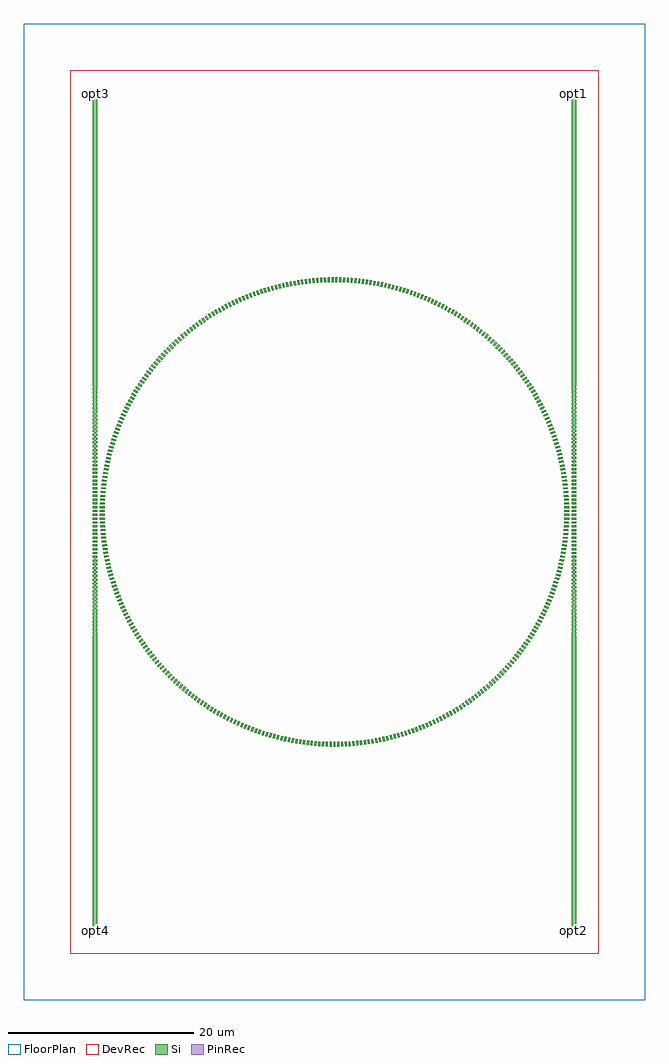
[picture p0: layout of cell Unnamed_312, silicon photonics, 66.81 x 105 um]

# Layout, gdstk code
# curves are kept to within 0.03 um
import gdstk
lib = gdstk.Library(unit=1e-6, precision=1e-09)
def R(c, l, rs):  # rectangles x0, y0, x1, y1
    for r in rs: c.add(gdstk.rectangle(r[:2], r[2:], *l))
def A(c, l, x, y, w, h, nx, ny, dx, dy):  # array of equal rectangles
    R(c, l, [(x+i*dx, y+j*dy, x+i*dx+w, y+j*dy+h) for i in range(nx) for j in range(ny)])
def P(c, l, *ps):  # polygons
    for p in ps: c.add(gdstk.Polygon(p, *l))
Si = (1, 0)
PinRec = (1, 10)
DevRec = (68, 0)
FloorPlan = (99, 0)

unnamed_312 = lib.new_cell('Unnamed_312')
A(unnamed_312, Si, -26.01, -4.51, 0.5, 0.205, 1, 23, 0, 0.41)
A(unnamed_312, Si, 25.51, -4.51, 0.5, 0.205, 1, 23, 0, 0.41)
P(unnamed_312, Si, [(-0.106,-25.242),(-0.104,-24.742),(0.099,-24.742),(0.101,-25.242)],
  [(13.01,21.045),(12.837,21.151),(13.097,21.579),(13.273,21.471)],
  [(11.242,22.04),(11.061,22.132),(11.285,22.579),(11.469,22.486)],
  [(10.879,22.222),(10.697,22.31),(10.913,22.761),(11.099,22.671)],
  [(10.513,22.397),(10.329,22.483),(10.538,22.937),(10.726,22.85)],
  [(25.51,4.92),(25.51,5.125),(25.726,5.125),(25.722,5.33),(25.51,5.33),(25.51,5.535),(25.717,5.535),(25.713,5.74),(25.51,5.74),(25.51,5.945),(25.708,5.945),(25.704,6.15),(25.51,6.15),(25.51,6.355),(25.699,6.355),(25.695,6.56),(25.51,6.56),(25.51,6.765),(25.69,6.765),(25.686,6.97),(25.51,6.97),(25.51,7.175),(25.681,7.175),(25.677,7.38),(25.51,7.38),(25.51,7.585),(25.672,7.585),(25.668,7.79),(25.51,7.79),(25.51,7.995),(25.663,7.995),(25.659,8.2),(25.51,8.2),(25.51,8.405),(25.654,8.405),(25.65,8.61),(25.51,8.61),(25.51,8.815),(25.645,8.815),(25.641,9.02),(25.51,9.02),(25.51,9.225),(25.636,9.225),(25.632,9.43),(25.51,9.43),(25.51,9.635),(25.627,9.635),(25.623,9.84),(25.51,9.84),(25.51,10.045),(25.618,10.045),(25.614,10.25),(25.51,10.25),(25.51,10.455),(25.609,10.455),(25.605,10.66),(25.51,10.66),(25.51,10.865),(25.6,10.865),(25.596,11.07),(25.51,11.07),(25.51,11.275),(25.591,11.275),(25.587,11.48),(25.51,11.48),(25.51,11.685),(25.582,11.685),(25.578,11.89),(25.51,11.89),(25.51,12.095),(25.573,12.095),(25.569,12.3),(25.51,12.3),(25.51,12.505),(25.564,12.505),(25.56,12.71),(25.51,12.71),(25.51,12.915),(25.555,12.915),(25.551,13.12),(25.51,13.12),(25.51,13.325),(25.546,13.325),(25.542,13.53),(25.51,13.53),(25.51,45),(26.01,45),(26.01,13.53),(25.978,13.53),(25.974,13.325),(26.01,13.325),(26.01,13.12),(25.969,13.12),(25.965,12.915),(26.01,12.915),(26.01,12.71),(25.96,12.71),(25.956,12.505),(26.01,12.505),(26.01,12.3),(25.951,12.3),(25.947,12.095),(26.01,12.095),(26.01,11.89),(25.942,11.89),(25.938,11.685),(26.01,11.685),(26.01,11.48),(25.933,11.48),(25.929,11.275),(26.01,11.275),(26.01,11.07),(25.924,11.07),(25.92,10.865),(26.01,10.865),(26.01,10.66),(25.915,10.66),(25.911,10.455),(26.01,10.455),(26.01,10.25),(25.906,10.25),(25.902,10.045),(26.01,10.045),(26.01,9.84),(25.897,9.84),(25.893,9.635),(26.01,9.635),(26.01,9.43),(25.888,9.43),(25.884,9.225),(26.01,9.225),(26.01,9.02),(25.879,9.02),(25.875,8.815),(26.01,8.815),(26.01,8.61),(25.87,8.61),(25.866,8.405),(26.01,8.405),(26.01,8.2),(25.861,8.2),(25.857,7.995),(26.01,7.995),(26.01,7.79),(25.852,7.79),(25.848,7.585),(26.01,7.585),(26.01,7.38),(25.843,7.38),(25.839,7.175),(26.01,7.175),(26.01,6.97),(25.834,6.97),(25.83,6.765),(26.01,6.765),(26.01,6.56),(25.825,6.56),(25.821,6.355),(26.01,6.355),(26.01,6.15),(25.816,6.15),(25.812,5.945),(26.01,5.945),(26.01,5.74),(25.807,5.74),(25.803,5.535),(26.01,5.535),(26.01,5.33),(25.798,5.33),(25.794,5.125),(26.01,5.125),(26.01,4.92)],
  [(9.773,22.73),(9.586,22.81),(9.78,23.271),(9.97,23.19)],
  [(9.399,22.887),(9.211,22.964),(9.397,23.428),(9.589,23.35)],
  [(9.022,23.039),(8.833,23.112),(9.011,23.579),(9.204,23.504)],
  [(8.643,23.183),(8.452,23.254),(8.623,23.724),(8.817,23.652)],
  [(8.261,23.322),(8.07,23.389),(8.233,23.862),(8.428,23.793)],
  [(7.878,23.455),(7.685,23.518),(7.84,23.994),(8.037,23.928)],
  [(7.492,23.581),(7.298,23.641),(7.446,24.119),(7.643,24.057)],
  [(7.104,23.7),(6.909,23.758),(7.049,24.238),(7.248,24.179)],
  [(6.714,23.814),(6.519,23.868),(6.65,24.35),(6.85,24.295)],
  [(6.323,23.921),(6.126,23.972),(6.25,24.456),(6.45,24.404)],
  [(5.929,24.021),(5.732,24.069),(5.848,24.555),(6.049,24.507)],
  [(5.535,24.115),(5.337,24.16),(5.444,24.648),(5.646,24.602)],
  [(5.138,24.203),(4.94,24.244),(5.039,24.734),(5.242,24.692)],
  [(4.741,24.284),(4.541,24.322),(4.633,24.813),(4.836,24.774)],
  [(4.342,24.358),(4.142,24.393),(4.225,24.886),(4.429,24.85)],
  [(3.941,24.426),(3.741,24.458),(3.817,24.952),(4.021,24.92)],
  [(3.54,24.488),(3.339,24.516),(3.407,25.011),(3.612,24.982)],
  [(3.138,24.542),(2.937,24.567),(2.996,25.064),(3.201,25.038)],
  [(2.735,24.59),(2.533,24.612),(2.584,25.109),(2.79,25.087)],
  [(2.331,24.632),(2.129,24.65),(2.172,25.148),(2.378,25.13)],
  [(1.927,24.667),(1.725,24.682),(1.759,25.181),(1.966,25.165)],
  [(1.522,24.695),(1.319,24.707),(1.346,25.206),(1.553,25.194)],
  [(1.117,24.717),(0.914,24.725),(0.932,25.225),(1.139,25.216)],
  [(0.711,24.732),(0.508,24.737),(0.518,25.237),(0.725,25.232)],
  [(0.305,24.74),(0.102,24.742),(0.104,25.242),(0.311,25.24)],
  [(10.144,22.567),(9.959,22.649),(10.16,23.107),(10.349,23.023)],
  [(11.959,21.66),(11.781,21.757),(12.019,22.197),(12.201,22.098)],
  [(11.602,21.853),(11.423,21.948),(11.654,22.391),(11.837,22.295)],
  [(12.663,21.256),(12.489,21.359),(12.741,21.791),(12.919,21.685)],
  [(12.313,21.461),(12.136,21.561),(12.382,21.997),(12.562,21.894)],
  [(23.002,9.116),(22.926,9.304),(23.389,9.492),(23.467,9.3)],
  [(22.849,9.492),(22.77,9.679),(23.231,9.874),(23.311,9.683)],
  [(22.69,9.865),(22.609,10.051),(23.066,10.254),(23.149,10.065)],
  [(22.525,10.236),(22.441,10.42),(22.894,10.631),(22.981,10.443)],
  [(22.354,10.604),(22.267,10.787),(22.717,11.005),(22.806,10.818)],
  [(22.178,10.969),(22.087,11.151),(22.533,11.376),(22.626,11.191)],
  [(21.995,11.332),(21.901,11.512),(22.343,11.744),(22.439,11.561)],
  [(21.806,11.691),(21.709,11.87),(22.148,12.109),(22.246,11.927)],
  [(21.611,12.047),(21.511,12.224),(21.946,12.471),(22.048,12.291)],
  [(21.411,12.4),(21.308,12.575),(21.739,12.829),(21.843,12.651)],
  [(21.204,12.75),(21.099,12.923),(21.525,13.184),(21.633,13.007)],
  [(20.992,13.096),(20.884,13.267),(21.306,13.536),(21.416,13.36)],
  [(20.775,13.438),(20.664,13.608),(21.081,13.883),(21.194,13.71)],
  [(20.551,13.777),(20.438,13.945),(20.851,14.227),(20.967,14.056)],
  [(20.323,14.113),(20.206,14.279),(20.614,14.567),(20.733,14.398)],
  [(20.088,14.444),(19.969,14.608),(20.373,14.904),(20.494,14.736)],
  [(19.849,14.772),(19.727,14.934),(20.125,15.236),(20.25,15.07)],
  [(19.604,15.095),(19.479,15.256),(19.873,15.564),(20,15.4)],
  [(19.353,15.415),(19.226,15.573),(19.615,15.888),(19.745,15.726)],
  [(19.098,15.73),(18.968,15.886),(19.352,16.207),(19.484,16.048)],
  [(18.837,16.041),(18.705,16.195),(19.083,16.523),(19.218,16.366)],
  [(18.572,16.348),(18.437,16.5),(18.81,16.833),(18.947,16.679)],
  [(18.301,16.651),(18.164,16.8),(18.531,17.14),(18.671,16.987)],
  [(18.025,16.949),(17.886,17.096),(18.247,17.441),(18.39,17.291)],
  [(17.745,17.242),(17.603,17.387),(17.959,17.738),(18.104,17.591)],
  [(17.46,17.531),(17.315,17.673),(17.665,18.031),(17.813,17.885)],
  [(17.17,17.815),(17.023,17.955),(17.367,18.318),(17.517,18.175)],
  [(16.875,18.094),(16.726,18.232),(17.064,18.6),(17.216,18.46)],
  [(16.576,18.369),(16.425,18.504),(16.757,18.878),(16.911,18.74)],
  [(16.273,18.638),(16.119,18.771),(16.445,19.15),(16.601,19.015)],
  [(15.965,18.902),(15.809,19.033),(16.129,19.417),(16.287,19.284)],
  [(15.652,19.162),(15.495,19.289),(15.808,19.679),(15.969,19.549)],
  [(15.336,19.416),(15.176,19.541),(15.483,19.936),(15.646,19.808)],
  [(15.015,19.665),(14.854,19.787),(15.154,20.187),(15.319,20.062)],
  [(14.691,19.909),(14.527,20.028),(14.821,20.433),(14.988,20.311)],
  [(14.362,20.147),(14.197,20.264),(14.483,20.674),(14.653,20.554)],
  [(14.03,20.38),(13.862,20.494),(14.142,20.908),(14.313,20.792)],
  [(13.694,20.607),(13.524,20.719),(13.797,21.137),(13.97,21.024)],
  [(13.354,20.829),(13.182,20.938),(13.449,21.361),(13.624,21.25)],
  [(24.742,0),(24.741,0.203),(25.241,0.207),(25.242,0)],
  [(24.739,0.406),(24.735,0.609),(25.234,0.621),(25.239,0.414)],
  [(24.729,0.812),(24.721,1.014),(25.221,1.035),(25.229,0.828)],
  [(24.712,1.217),(24.701,1.42),(25.201,1.449),(25.212,1.242)],
  [(24.689,1.622),(24.675,1.825),(25.173,1.862),(25.188,1.655)],
  [(24.659,2.027),(24.641,2.229),(25.139,2.274),(25.157,2.068)],
  [(24.622,2.431),(24.602,2.633),(25.099,2.687),(25.12,2.481)],
  [(24.579,2.835),(24.555,3.036),(25.051,3.098),(25.076,2.892)],
  [(24.529,3.238),(24.502,3.439),(24.997,3.508),(25.025,3.303)],
  [(24.473,3.64),(24.442,3.84),(24.936,3.918),(24.967,3.713)],
  [(24.41,4.041),(24.376,4.241),(24.869,4.326),(24.903,4.122)],
  [(24.34,4.441),(24.303,4.64),(24.794,4.734),(24.832,4.53)],
  [(24.264,4.839),(24.224,5.038),(24.713,5.14),(24.755,4.937)],
  [(24.182,5.237),(24.138,5.435),(24.626,5.545),(24.67,5.342)],
  [(24.092,5.633),(24.045,5.83),(24.531,5.948),(24.579,5.746)],
  [(23.997,6.027),(23.947,6.224),(24.43,6.349),(24.482,6.149)],
  [(23.895,6.42),(23.841,6.616),(24.323,6.749),(24.378,6.55)],
  [(23.786,6.811),(23.729,7.006),(24.209,7.147),(24.267,6.949)],
  [(23.671,7.2),(23.611,7.394),(24.089,7.544),(24.15,7.346)],
  [(23.55,7.588),(23.487,7.781),(23.962,7.938),(24.026,7.741)],
  [(23.422,7.973),(23.356,8.165),(23.828,8.33),(23.896,8.134)],
  [(23.288,8.356),(23.219,8.547),(23.688,8.72),(23.759,8.525)],
  [(23.148,8.737),(23.076,8.927),(23.542,9.107),(23.616,8.914)],
  [(-13.009,21.046),(-13.272,21.472),(-13.095,21.58),(-12.836,21.152)],
  [(-11.241,22.041),(-11.468,22.487),(-11.283,22.58),(-11.06,22.133)],
  [(-10.878,22.223),(-11.097,22.672),(-10.911,22.762),(-10.695,22.311)],
  [(-10.512,22.398),(-10.724,22.851),(-10.536,22.938),(-10.328,22.484)],
  [(-26.01,4.92),(-26.01,5.125),(-25.794,5.125),(-25.798,5.33),(-26.01,5.33),(-26.01,5.535),(-25.803,5.535),(-25.807,5.74),(-26.01,5.74),(-26.01,5.945),(-25.812,5.945),(-25.816,6.15),(-26.01,6.15),(-26.01,6.355),(-25.821,6.355),(-25.825,6.56),(-26.01,6.56),(-26.01,6.765),(-25.83,6.765),(-25.834,6.97),(-26.01,6.97),(-26.01,7.175),(-25.839,7.175),(-25.843,7.38),(-26.01,7.38),(-26.01,7.585),(-25.848,7.585),(-25.852,7.79),(-26.01,7.79),(-26.01,7.995),(-25.857,7.995),(-25.861,8.2),(-26.01,8.2),(-26.01,8.405),(-25.866,8.405),(-25.87,8.61),(-26.01,8.61),(-26.01,8.815),(-25.875,8.815),(-25.879,9.02),(-26.01,9.02),(-26.01,9.225),(-25.884,9.225),(-25.888,9.43),(-26.01,9.43),(-26.01,9.635),(-25.893,9.635),(-25.897,9.84),(-26.01,9.84),(-26.01,10.045),(-25.902,10.045),(-25.906,10.25),(-26.01,10.25),(-26.01,10.455),(-25.911,10.455),(-25.915,10.66),(-26.01,10.66),(-26.01,10.865),(-25.92,10.865),(-25.924,11.07),(-26.01,11.07),(-26.01,11.275),(-25.929,11.275),(-25.933,11.48),(-26.01,11.48),(-26.01,11.685),(-25.938,11.685),(-25.942,11.89),(-26.01,11.89),(-26.01,12.095),(-25.947,12.095),(-25.951,12.3),(-26.01,12.3),(-26.01,12.505),(-25.956,12.505),(-25.96,12.71),(-26.01,12.71),(-26.01,12.915),(-25.965,12.915),(-25.969,13.12),(-26.01,13.12),(-26.01,13.325),(-25.974,13.325),(-25.978,13.53),(-26.01,13.53),(-26.01,45),(-25.51,45),(-25.51,13.53),(-25.542,13.53),(-25.546,13.325),(-25.51,13.325),(-25.51,13.12),(-25.551,13.12),(-25.555,12.915),(-25.51,12.915),(-25.51,12.71),(-25.56,12.71),(-25.564,12.505),(-25.51,12.505),(-25.51,12.3),(-25.569,12.3),(-25.573,12.095),(-25.51,12.095),(-25.51,11.89),(-25.578,11.89),(-25.582,11.685),(-25.51,11.685),(-25.51,11.48),(-25.587,11.48),(-25.591,11.275),(-25.51,11.275),(-25.51,11.07),(-25.596,11.07),(-25.6,10.865),(-25.51,10.865),(-25.51,10.66),(-25.605,10.66),(-25.609,10.455),(-25.51,10.455),(-25.51,10.25),(-25.614,10.25),(-25.618,10.045),(-25.51,10.045),(-25.51,9.84),(-25.623,9.84),(-25.627,9.635),(-25.51,9.635),(-25.51,9.43),(-25.632,9.43),(-25.636,9.225),(-25.51,9.225),(-25.51,9.02),(-25.641,9.02),(-25.645,8.815),(-25.51,8.815),(-25.51,8.61),(-25.65,8.61),(-25.654,8.405),(-25.51,8.405),(-25.51,8.2),(-25.659,8.2),(-25.663,7.995),(-25.51,7.995),(-25.51,7.79),(-25.668,7.79),(-25.672,7.585),(-25.51,7.585),(-25.51,7.38),(-25.677,7.38),(-25.681,7.175),(-25.51,7.175),(-25.51,6.97),(-25.686,6.97),(-25.69,6.765),(-25.51,6.765),(-25.51,6.56),(-25.695,6.56),(-25.699,6.355),(-25.51,6.355),(-25.51,6.15),(-25.704,6.15),(-25.708,5.945),(-25.51,5.945),(-25.51,5.74),(-25.713,5.74),(-25.717,5.535),(-25.51,5.535),(-25.51,5.33),(-25.722,5.33),(-25.726,5.125),(-25.51,5.125),(-25.51,4.92)],
  [(-9.771,22.731),(-9.969,23.19),(-9.778,23.271),(-9.584,22.81)],
  [(-9.397,22.888),(-9.587,23.351),(-9.395,23.429),(-9.209,22.964)],
  [(-9.02,23.039),(-9.203,23.505),(-9.009,23.579),(-8.831,23.112)],
  [(-8.641,23.184),(-8.816,23.653),(-8.621,23.724),(-8.451,23.254)],
  [(-8.26,23.323),(-8.427,23.794),(-8.231,23.862),(-8.068,23.39)],
  [(-7.876,23.455),(-8.035,23.929),(-7.839,23.994),(-7.683,23.519)],
  [(-7.49,23.581),(-7.642,24.058),(-7.444,24.12),(-7.296,23.642)],
  [(-7.102,23.701),(-7.246,24.18),(-7.047,24.238),(-6.908,23.758)],
  [(-6.713,23.814),(-6.848,24.295),(-6.649,24.351),(-6.517,23.868)],
  [(-6.321,23.921),(-6.449,24.404),(-6.248,24.457),(-6.125,23.972)],
  [(-5.928,24.022),(-6.048,24.507),(-5.846,24.556),(-5.731,24.069)],
  [(-5.533,24.116),(-5.645,24.603),(-5.443,24.648),(-5.335,24.16)],
  [(-5.137,24.203),(-5.24,24.692),(-5.038,24.734),(-4.938,24.244)],
  [(-4.739,24.284),(-4.835,24.775),(-4.631,24.814),(-4.54,24.322)],
  [(-4.34,24.359),(-4.428,24.851),(-4.224,24.886),(-4.14,24.393)],
  [(-3.94,24.426),(-4.019,24.92),(-3.815,24.952),(-3.739,24.458)],
  [(-3.538,24.488),(-3.61,24.983),(-3.405,25.011),(-3.338,24.516)],
  [(-3.136,24.543),(-3.2,25.038),(-2.994,25.064),(-2.935,24.567)],
  [(-2.733,24.591),(-2.789,25.088),(-2.583,25.11),(-2.532,24.612)],
  [(-2.33,24.632),(-2.377,25.13),(-2.17,25.149),(-2.127,24.65)],
  [(-1.925,24.667),(-1.964,25.166),(-1.758,25.181),(-1.723,24.682)],
  [(-1.52,24.695),(-1.551,25.194),(-1.344,25.206),(-1.318,24.707)],
  [(-1.115,24.717),(-1.137,25.216),(-0.931,25.225),(-0.912,24.725)],
  [(-0.709,24.732),(-0.724,25.232),(-0.517,25.237),(-0.506,24.737)],
  [(-0.304,24.74),(-0.31,25.24),(-0.103,25.242),(-0.101,24.742)],
  [(-10.143,22.568),(-10.348,23.024),(-10.159,23.108),(-9.957,22.65)],
  [(-24.529,3.24),(-25.025,3.305),(-24.997,3.51),(-24.502,3.441)],
  [(-14.361,20.148),(-14.651,20.555),(-14.482,20.675),(-14.195,20.265)],
  [(-23.001,9.117),(-23.466,9.301),(-23.389,9.494),(-22.926,9.306)],
  [(-14.028,20.381),(-14.312,20.793),(-14.141,20.909),(-13.861,20.495)],
  [(-13.692,20.608),(-13.969,21.025),(-13.796,21.138),(-13.523,20.72)],
  [(-22.848,9.493),(-23.31,9.685),(-23.23,9.876),(-22.77,9.68)],
  [(-13.352,20.83),(-13.622,21.251),(-13.447,21.362),(-13.181,20.939)],
  [(-19.097,15.732),(-19.483,16.049),(-19.35,16.209),(-18.967,15.888)],
  [(-22.69,9.867),(-23.148,10.066),(-23.065,10.256),(-22.608,10.053)],
  [(-24.689,1.624),(-25.188,1.657),(-25.173,1.863),(-24.675,1.827)],
  [(-22.525,10.238),(-22.98,10.445),(-22.893,10.633),(-22.44,10.422)],
  [(-24.473,3.641),(-24.967,3.715),(-24.936,3.92),(-24.442,3.842)],
  [(-22.354,10.606),(-22.805,10.82),(-22.716,11.007),(-22.266,10.789)],
  [(-23.996,6.029),(-24.481,6.151),(-24.43,6.351),(-23.946,6.225)],
  [(-18.836,16.043),(-19.217,16.367),(-19.082,16.524),(-18.704,16.197)],
  [(-22.177,10.971),(-22.625,11.193),(-22.532,11.378),(-22.086,11.153)],
  [(-18.571,16.35),(-18.946,16.68),(-18.808,16.835),(-18.436,16.501)],
  [(-23.894,6.422),(-24.377,6.551),(-24.323,6.751),(-23.841,6.617)],
  [(-21.994,11.333),(-22.438,11.562),(-22.343,11.746),(-21.9,11.513)],
  [(-18.3,16.652),(-18.67,16.988),(-18.53,17.141),(-18.163,16.802)],
  [(-24.739,0.408),(-25.239,0.416),(-25.234,0.623),(-24.735,0.611)],
  [(-21.805,11.693),(-22.246,11.929),(-22.147,12.111),(-21.708,11.871)],
  [(-18.024,16.95),(-18.388,17.292),(-18.246,17.443),(-17.885,17.097)],
  [(-24.41,4.042),(-24.903,4.124),(-24.868,4.328),(-24.376,4.243)],
  [(-23.786,6.813),(-24.266,6.95),(-24.209,7.149),(-23.729,7.008)],
  [(-21.61,12.049),(-22.047,12.292),(-21.945,12.473),(-21.511,12.226)],
  [(-17.744,17.243),(-18.102,17.592),(-17.957,17.74),(-17.602,17.388)],
  [(-21.41,12.402),(-21.842,12.652),(-21.738,12.831),(-21.307,12.577)],
  [(-24.712,1.219),(-25.211,1.244),(-25.2,1.45),(-24.701,1.422)],
  [(-17.458,17.532),(-17.811,17.886),(-17.664,18.032),(-17.314,17.675)],
  [(-24.729,0.813),(-25.228,0.83),(-25.221,1.037),(-24.721,1.016)],
  [(-21.203,12.751),(-21.632,13.009),(-21.524,13.186),(-21.098,12.925)],
  [(-23.671,7.202),(-24.149,7.348),(-24.088,7.545),(-23.611,7.396)],
  [(-24.659,2.029),(-25.157,2.07),(-25.139,2.276),(-24.641,2.231)],
  [(-17.169,17.816),(-17.515,18.176),(-17.366,18.319),(-17.022,17.956)],
  [(-20.991,13.097),(-21.415,13.362),(-21.305,13.537),(-20.883,13.269)],
  [(-24.579,2.837),(-25.076,2.894),(-25.051,3.1),(-24.555,3.038)],
  [(-16.874,18.095),(-17.215,18.461),(-17.063,18.602),(-16.725,18.233)],
  [(-24.34,4.442),(-24.832,4.532),(-24.794,4.736),(-24.303,4.642)],
  [(-23.549,7.589),(-24.025,7.743),(-23.961,7.939),(-23.486,7.782)],
  [(-20.774,13.44),(-21.193,13.711),(-21.08,13.885),(-20.663,13.61)],
  [(-16.575,18.37),(-16.91,18.741),(-16.756,18.879),(-16.424,18.505)],
  [(-20.55,13.779),(-20.966,14.057),(-20.85,14.229),(-20.437,13.947)],
  [(-16.271,18.639),(-16.6,19.016),(-16.444,19.151),(-16.118,18.772)],
  [(-24.264,4.841),(-24.754,4.939),(-24.713,5.142),(-24.223,5.04)],
  [(-23.422,7.975),(-23.895,8.136),(-23.828,8.331),(-23.356,8.166)],
  [(-20.322,14.114),(-20.732,14.399),(-20.613,14.569),(-20.205,14.28)],
  [(-15.963,18.904),(-16.286,19.286),(-16.127,19.418),(-15.808,19.034)],
  [(-20.087,14.445),(-20.493,14.737),(-20.372,14.905),(-19.968,14.61)],
  [(-24.181,5.238),(-24.67,5.344),(-24.625,5.546),(-24.137,5.437)],
  [(-15.651,19.163),(-15.967,19.55),(-15.806,19.68),(-15.493,19.291)],
  [(-23.288,8.358),(-23.758,8.527),(-23.688,8.721),(-23.218,8.548)],
  [(-19.848,14.773),(-20.249,15.072),(-20.124,15.237),(-19.726,14.935)],
  [(-15.335,19.417),(-15.645,19.809),(-15.482,19.937),(-15.175,19.542)],
  [(-25.242,0.002),(-25.241,0.209),(-24.741,0.205),(-24.742,0.002)],
  [(-19.603,15.097),(-19.999,15.402),(-19.872,15.565),(-19.478,15.257)],
  [(-15.014,19.666),(-15.317,20.063),(-15.152,20.188),(-14.852,19.788)],
  [(-24.092,5.634),(-24.579,5.748),(-24.531,5.95),(-24.045,5.832)],
  [(-23.148,8.739),(-23.615,8.915),(-23.541,9.109),(-23.075,8.928)],
  [(-19.352,15.416),(-19.743,15.728),(-19.614,15.889),(-19.225,15.574)],
  [(-14.689,19.91),(-14.986,20.312),(-14.819,20.434),(-14.526,20.029)],
  [(-24.622,2.433),(-25.12,2.482),(-25.099,2.688),(-24.601,2.635)],
  [(-12.662,21.257),(-12.918,21.686),(-12.739,21.792),(-12.487,21.36)],
  [(-11.958,21.661),(-12.199,22.098),(-12.018,22.198),(-11.78,21.758)],
  [(-12.311,21.462),(-12.56,21.895),(-12.38,21.998),(-12.135,21.562)],
  [(-11.601,21.854),(-11.835,22.296),(-11.652,22.392),(-11.421,21.948)],
  [(-10.351,-23.022),(-10.539,-22.936),(-10.331,-22.482),(-10.146,-22.566)],
  [(-10.727,-22.849),(-10.914,-22.761),(-10.698,-22.31),(-10.515,-22.397)],
  [(-11.101,-22.67),(-11.286,-22.578),(-11.063,-22.131),(-10.881,-22.221)],
  [(-12.921,-21.685),(-13.098,-21.578),(-12.839,-21.15),(-12.665,-21.255)],
  [(-26.01,-45),(-26.01,-13.325),(-25.978,-13.325),(-25.974,-13.12),(-26.01,-13.12),(-26.01,-12.915),(-25.969,-12.915),(-25.965,-12.71),(-26.01,-12.71),(-26.01,-12.505),(-25.96,-12.505),(-25.956,-12.3),(-26.01,-12.3),(-26.01,-12.095),(-25.951,-12.095),(-25.947,-11.89),(-26.01,-11.89),(-26.01,-11.685),(-25.942,-11.685),(-25.938,-11.48),(-26.01,-11.48),(-26.01,-11.275),(-25.933,-11.275),(-25.929,-11.07),(-26.01,-11.07),(-26.01,-10.865),(-25.924,-10.865),(-25.92,-10.66),(-26.01,-10.66),(-26.01,-10.455),(-25.915,-10.455),(-25.911,-10.25),(-26.01,-10.25),(-26.01,-10.045),(-25.906,-10.045),(-25.902,-9.84),(-26.01,-9.84),(-26.01,-9.635),(-25.897,-9.635),(-25.893,-9.43),(-26.01,-9.43),(-26.01,-9.225),(-25.888,-9.225),(-25.884,-9.02),(-26.01,-9.02),(-26.01,-8.815),(-25.879,-8.815),(-25.875,-8.61),(-26.01,-8.61),(-26.01,-8.405),(-25.87,-8.405),(-25.866,-8.2),(-26.01,-8.2),(-26.01,-7.995),(-25.861,-7.995),(-25.857,-7.79),(-26.01,-7.79),(-26.01,-7.585),(-25.852,-7.585),(-25.848,-7.38),(-26.01,-7.38),(-26.01,-7.175),(-25.843,-7.175),(-25.839,-6.97),(-26.01,-6.97),(-26.01,-6.765),(-25.834,-6.765),(-25.83,-6.56),(-26.01,-6.56),(-26.01,-6.355),(-25.825,-6.355),(-25.821,-6.15),(-26.01,-6.15),(-26.01,-5.945),(-25.816,-5.945),(-25.812,-5.74),(-26.01,-5.74),(-26.01,-5.535),(-25.807,-5.535),(-25.803,-5.33),(-26.01,-5.33),(-26.01,-5.125),(-25.798,-5.125),(-25.794,-4.92),(-26.01,-4.92),(-26.01,-4.715),(-25.51,-4.715),(-25.51,-4.92),(-25.726,-4.92),(-25.722,-5.125),(-25.51,-5.125),(-25.51,-5.33),(-25.717,-5.33),(-25.713,-5.535),(-25.51,-5.535),(-25.51,-5.74),(-25.708,-5.74),(-25.704,-5.945),(-25.51,-5.945),(-25.51,-6.15),(-25.699,-6.15),(-25.695,-6.355),(-25.51,-6.355),(-25.51,-6.56),(-25.69,-6.56),(-25.686,-6.765),(-25.51,-6.765),(-25.51,-6.97),(-25.681,-6.97),(-25.677,-7.175),(-25.51,-7.175),(-25.51,-7.38),(-25.672,-7.38),(-25.668,-7.585),(-25.51,-7.585),(-25.51,-7.79),(-25.663,-7.79),(-25.659,-7.995),(-25.51,-7.995),(-25.51,-8.2),(-25.654,-8.2),(-25.65,-8.405),(-25.51,-8.405),(-25.51,-8.61),(-25.645,-8.61),(-25.641,-8.815),(-25.51,-8.815),(-25.51,-9.02),(-25.636,-9.02),(-25.632,-9.225),(-25.51,-9.225),(-25.51,-9.43),(-25.627,-9.43),(-25.623,-9.635),(-25.51,-9.635),(-25.51,-9.84),(-25.618,-9.84),(-25.614,-10.045),(-25.51,-10.045),(-25.51,-10.25),(-25.609,-10.25),(-25.605,-10.455),(-25.51,-10.455),(-25.51,-10.66),(-25.6,-10.66),(-25.596,-10.865),(-25.51,-10.865),(-25.51,-11.07),(-25.591,-11.07),(-25.587,-11.275),(-25.51,-11.275),(-25.51,-11.48),(-25.582,-11.48),(-25.578,-11.685),(-25.51,-11.685),(-25.51,-11.89),(-25.573,-11.89),(-25.569,-12.095),(-25.51,-12.095),(-25.51,-12.3),(-25.564,-12.3),(-25.56,-12.505),(-25.51,-12.505),(-25.51,-12.71),(-25.555,-12.71),(-25.551,-12.915),(-25.51,-12.915),(-25.51,-13.12),(-25.546,-13.12),(-25.542,-13.325),(-25.51,-13.325),(-25.51,-45)],
  [(-12.202,-22.097),(-12.383,-21.996),(-12.138,-21.56),(-11.961,-21.659)],
  [(-12.563,-21.894),(-12.742,-21.79),(-12.49,-21.358),(-12.314,-21.46)],
  [(-11.471,-22.485),(-11.655,-22.39),(-11.424,-21.947),(-11.244,-22.04)],
  [(-11.838,-22.294),(-12.021,-22.196),(-11.783,-21.756),(-11.604,-21.852)],
  [(-13.625,-21.249),(-13.799,-21.137),(-13.526,-20.718),(-13.355,-20.828)],
  [(-13.972,-21.023),(-14.144,-20.907),(-13.864,-20.493),(-13.695,-20.606)],
  [(-14.315,-20.791),(-14.485,-20.672),(-14.198,-20.263),(-14.031,-20.379)],
  [(-14.654,-20.553),(-14.822,-20.432),(-14.528,-20.027),(-14.364,-20.146)],
  [(-14.989,-20.31),(-15.155,-20.186),(-14.855,-19.786),(-14.692,-19.908)],
  [(-15.32,-20.061),(-15.484,-19.935),(-15.178,-19.54),(-15.017,-19.664)],
  [(-15.647,-19.807),(-15.809,-19.678),(-15.496,-19.288),(-15.337,-19.415)],
  [(-15.97,-19.548),(-16.13,-19.416),(-15.81,-19.032),(-15.654,-19.161)],
  [(-16.289,-19.283),(-16.446,-19.149),(-16.12,-18.77),(-15.966,-18.901)],
  [(-16.603,-19.013),(-16.758,-18.877),(-16.426,-18.503),(-16.274,-18.637)],
  [(-16.912,-18.739),(-17.066,-18.599),(-16.728,-18.231),(-16.577,-18.367)],
  [(-17.218,-18.459),(-17.368,-18.317),(-17.024,-17.954),(-16.877,-18.093)],
  [(-17.518,-18.174),(-17.667,-18.029),(-17.317,-17.672),(-17.171,-17.814)],
  [(-17.814,-17.884),(-17.96,-17.737),(-17.604,-17.386),(-17.461,-17.53)],
  [(-18.105,-17.589),(-18.248,-17.44),(-17.887,-17.095),(-17.746,-17.241)],
  [(-18.391,-17.29),(-18.532,-17.138),(-18.165,-16.799),(-18.027,-16.947)],
  [(-18.672,-16.986),(-18.811,-16.832),(-18.438,-16.499),(-18.302,-16.649)],
  [(-18.948,-16.677),(-19.084,-16.521),(-18.706,-16.194),(-18.573,-16.347)],
  [(-19.219,-16.364),(-19.353,-16.206),(-18.969,-15.885),(-18.838,-16.04)],
  [(-19.485,-16.047),(-19.616,-15.886),(-19.227,-15.572),(-19.099,-15.729)],
  [(-19.746,-15.725),(-19.874,-15.562),(-19.48,-15.254),(-19.355,-15.413)],
  [(-20.001,-15.399),(-20.127,-15.234),(-19.728,-14.933),(-19.605,-15.094)],
  [(-20.251,-15.069),(-20.374,-14.902),(-19.97,-14.607),(-19.85,-14.77)],
  [(-20.495,-14.735),(-20.615,-14.566),(-20.207,-14.277),(-20.089,-14.443)],
  [(-20.734,-14.396),(-20.852,-14.226),(-20.439,-13.944),(-20.324,-14.111)],
  [(-20.968,-14.054),(-21.082,-13.882),(-20.665,-13.607),(-20.552,-13.776)],
  [(-21.195,-13.708),(-21.307,-13.534),(-20.885,-13.266),(-20.776,-13.437)],
  [(-21.417,-13.359),(-21.526,-13.183),(-21.1,-12.922),(-20.993,-13.094)],
  [(-21.634,-13.006),(-21.74,-12.828),(-21.309,-12.574),(-21.205,-12.748)],
  [(-21.844,-12.649),(-21.947,-12.47),(-21.512,-12.223),(-21.411,-12.399)],
  [(-22.049,-12.289),(-22.149,-12.108),(-21.71,-11.868),(-21.612,-12.046)],
  [(-22.247,-11.926),(-22.344,-11.743),(-21.902,-11.51),(-21.807,-11.69)],
  [(-22.44,-11.559),(-22.534,-11.375),(-22.088,-11.149),(-21.995,-11.33)],
  [(-22.626,-11.19),(-22.718,-11.004),(-22.268,-10.786),(-22.178,-10.968)],
  [(-22.807,-10.817),(-22.895,-10.629),(-22.441,-10.419),(-22.355,-10.603)],
  [(-22.981,-10.441),(-23.066,-10.252),(-22.609,-10.049),(-22.526,-10.234)],
  [(-23.15,-10.063),(-23.231,-9.873),(-22.771,-9.677),(-22.691,-9.864)],
  [(-23.312,-9.682),(-23.39,-9.49),(-22.927,-9.302),(-22.85,-9.49)],
  [(-23.467,-9.298),(-23.543,-9.105),(-23.076,-8.925),(-23.002,-9.114)],
  [(-23.617,-8.912),(-23.689,-8.718),(-23.22,-8.545),(-23.149,-8.735)],
  [(-23.76,-8.523),(-23.829,-8.328),(-23.357,-8.163),(-23.289,-8.354)],
  [(-23.896,-8.132),(-23.962,-7.936),(-23.487,-7.779),(-23.423,-7.971)],
  [(-24.026,-7.739),(-24.089,-7.542),(-23.612,-7.393),(-23.55,-7.586)],
  [(-24.15,-7.344),(-24.21,-7.146),(-23.73,-7.004),(-23.672,-7.199)],
  [(-24.267,-6.947),(-24.323,-6.748),(-23.842,-6.614),(-23.787,-6.809)],
  [(-24.378,-6.548),(-24.431,-6.348),(-23.947,-6.222),(-23.895,-6.418)],
  [(-24.482,-6.147),(-24.532,-5.946),(-24.046,-5.828),(-23.997,-6.025)],
  [(-24.58,-5.745),(-24.626,-5.543),(-24.138,-5.433),(-24.093,-5.631)],
  [(-24.671,-5.341),(-24.714,-5.138),(-24.224,-5.036),(-24.182,-5.235)],
  [(-13.275,-21.47),(-13.45,-21.36),(-13.184,-20.937),(-13.012,-21.044)],
  [(-24.755,-4.935),(-24.795,-4.732),(-24.303,-4.638),(-24.265,-4.838)],
  [(-24.833,-4.529),(-24.869,-4.325),(-24.376,-4.239),(-24.341,-4.439)],
  [(-24.903,-4.121),(-24.936,-3.916),(-24.443,-3.839),(-24.41,-4.039)],
  [(-24.968,-3.712),(-24.997,-3.507),(-24.502,-3.437),(-24.473,-3.638)],
  [(-25.025,-3.301),(-25.052,-3.096),(-24.555,-3.035),(-24.53,-3.236)],
  [(-25.076,-2.891),(-25.099,-2.685),(-24.602,-2.632),(-24.579,-2.833)],
  [(-25.12,-2.479),(-25.14,-2.273),(-24.642,-2.228),(-24.623,-2.43)],
  [(-25.157,-2.066),(-25.173,-1.86),(-24.675,-1.823),(-24.659,-2.025)],
  [(-25.188,-1.653),(-25.201,-1.447),(-24.701,-1.418),(-24.689,-1.621)],
  [(-25.212,-1.24),(-25.221,-1.033),(-24.721,-1.013),(-24.712,-1.215)],
  [(-25.229,-0.826),(-25.235,-0.619),(-24.735,-0.607),(-24.729,-0.81)],
  [(-25.239,-0.412),(-25.241,-0.205),(-24.741,-0.201),(-24.739,-0.404)],
  [(-9.59,-23.349),(-9.781,-23.27),(-9.588,-22.809),(-9.4,-22.887)],
  [(-9.972,-23.189),(-10.162,-23.106),(-9.961,-22.649),(-9.774,-22.73)],
  [(-1.968,-25.165),(-2.174,-25.148),(-2.131,-24.65),(-1.929,-24.667)],
  [(-2.38,-25.13),(-2.586,-25.109),(-2.535,-24.612),(-2.333,-24.632)],
  [(-2.792,-25.087),(-2.998,-25.063),(-2.938,-24.567),(-2.737,-24.59)],
  [(-3.203,-25.038),(-3.408,-25.011),(-3.341,-24.515),(-3.14,-24.542)],
  [(-3.614,-24.982),(-3.818,-24.952),(-3.743,-24.457),(-3.542,-24.487)],
  [(-4.023,-24.919),(-4.227,-24.886),(-4.143,-24.393),(-3.943,-24.426)],
  [(-4.431,-24.85),(-4.635,-24.813),(-4.543,-24.321),(-4.343,-24.358)],
  [(-4.838,-24.774),(-5.041,-24.734),(-4.941,-24.244),(-4.742,-24.283)],
  [(-5.244,-24.691),(-5.446,-24.648),(-5.338,-24.159),(-5.14,-24.202)],
  [(-5.648,-24.602),(-5.85,-24.555),(-5.734,-24.069),(-5.536,-24.115)],
  [(-6.051,-24.506),(-6.252,-24.456),(-6.128,-23.971),(-5.931,-24.021)],
  [(-6.452,-24.404),(-6.652,-24.35),(-6.52,-23.867),(-6.324,-23.92)],
  [(-6.852,-24.294),(-7.051,-24.237),(-6.911,-23.757),(-6.716,-23.813)],
  [(-7.249,-24.179),(-7.447,-24.118),(-7.3,-23.641),(-7.106,-23.7)],
  [(-7.645,-24.057),(-7.842,-23.993),(-7.687,-23.518),(-7.493,-23.58)],
  [(-8.039,-23.928),(-8.235,-23.861),(-8.071,-23.389),(-7.879,-23.454)],
  [(-8.43,-23.793),(-8.625,-23.723),(-8.454,-23.253),(-8.263,-23.322)],
  [(-8.819,-23.651),(-9.013,-23.578),(-8.834,-23.111),(-8.644,-23.183)],
  [(-9.206,-23.504),(-9.398,-23.427),(-9.212,-22.963),(-9.024,-23.038)],
  [(-0.313,-25.24),(-0.52,-25.237),(-0.51,-24.737),(-0.307,-24.74)],
  [(-0.727,-25.232),(-0.934,-25.225),(-0.916,-24.725),(-0.713,-24.732)],
  [(-1.141,-25.216),(-1.348,-25.206),(-1.321,-24.707),(-1.118,-24.717)],
  [(-1.555,-25.194),(-1.761,-25.181),(-1.726,-24.682),(-1.524,-24.695)],
  [(12.916,-21.687),(12.66,-21.258),(12.834,-21.153),(13.094,-21.581)],
  [(25.51,-45),(25.51,-13.325),(25.542,-13.325),(25.546,-13.12),(25.51,-13.12),(25.51,-12.915),(25.551,-12.915),(25.555,-12.71),(25.51,-12.71),(25.51,-12.505),(25.56,-12.505),(25.564,-12.3),(25.51,-12.3),(25.51,-12.095),(25.569,-12.095),(25.573,-11.89),(25.51,-11.89),(25.51,-11.685),(25.578,-11.685),(25.582,-11.48),(25.51,-11.48),(25.51,-11.275),(25.587,-11.275),(25.591,-11.07),(25.51,-11.07),(25.51,-10.865),(25.596,-10.865),(25.6,-10.66),(25.51,-10.66),(25.51,-10.455),(25.605,-10.455),(25.609,-10.25),(25.51,-10.25),(25.51,-10.045),(25.614,-10.045),(25.618,-9.84),(25.51,-9.84),(25.51,-9.635),(25.623,-9.635),(25.627,-9.43),(25.51,-9.43),(25.51,-9.225),(25.632,-9.225),(25.636,-9.02),(25.51,-9.02),(25.51,-8.815),(25.641,-8.815),(25.645,-8.61),(25.51,-8.61),(25.51,-8.405),(25.65,-8.405),(25.654,-8.2),(25.51,-8.2),(25.51,-7.995),(25.659,-7.995),(25.663,-7.79),(25.51,-7.79),(25.51,-7.585),(25.668,-7.585),(25.672,-7.38),(25.51,-7.38),(25.51,-7.175),(25.677,-7.175),(25.681,-6.97),(25.51,-6.97),(25.51,-6.765),(25.686,-6.765),(25.69,-6.56),(25.51,-6.56),(25.51,-6.355),(25.695,-6.355),(25.699,-6.15),(25.51,-6.15),(25.51,-5.945),(25.704,-5.945),(25.708,-5.74),(25.51,-5.74),(25.51,-5.535),(25.713,-5.535),(25.717,-5.33),(25.51,-5.33),(25.51,-5.125),(25.722,-5.125),(25.726,-4.92),(25.51,-4.92),(25.51,-4.715),(26.01,-4.715),(26.01,-4.92),(25.794,-4.92),(25.798,-5.125),(26.01,-5.125),(26.01,-5.33),(25.803,-5.33),(25.807,-5.535),(26.01,-5.535),(26.01,-5.74),(25.812,-5.74),(25.816,-5.945),(26.01,-5.945),(26.01,-6.15),(25.821,-6.15),(25.825,-6.355),(26.01,-6.355),(26.01,-6.56),(25.83,-6.56),(25.834,-6.765),(26.01,-6.765),(26.01,-6.97),(25.839,-6.97),(25.843,-7.175),(26.01,-7.175),(26.01,-7.38),(25.848,-7.38),(25.852,-7.585),(26.01,-7.585),(26.01,-7.79),(25.857,-7.79),(25.861,-7.995),(26.01,-7.995),(26.01,-8.2),(25.866,-8.2),(25.87,-8.405),(26.01,-8.405),(26.01,-8.61),(25.875,-8.61),(25.879,-8.815),(26.01,-8.815),(26.01,-9.02),(25.884,-9.02),(25.888,-9.225),(26.01,-9.225),(26.01,-9.43),(25.893,-9.43),(25.897,-9.635),(26.01,-9.635),(26.01,-9.84),(25.902,-9.84),(25.906,-10.045),(26.01,-10.045),(26.01,-10.25),(25.911,-10.25),(25.915,-10.455),(26.01,-10.455),(26.01,-10.66),(25.92,-10.66),(25.924,-10.865),(26.01,-10.865),(26.01,-11.07),(25.929,-11.07),(25.933,-11.275),(26.01,-11.275),(26.01,-11.48),(25.938,-11.48),(25.942,-11.685),(26.01,-11.685),(26.01,-11.89),(25.947,-11.89),(25.951,-12.095),(26.01,-12.095),(26.01,-12.3),(25.956,-12.3),(25.96,-12.505),(26.01,-12.505),(26.01,-12.71),(25.965,-12.71),(25.969,-12.915),(26.01,-12.915),(26.01,-13.12),(25.974,-13.12),(25.978,-13.325),(26.01,-13.325),(26.01,-45)],
  [(10.346,-23.024),(10.141,-22.568),(10.326,-22.484),(10.535,-22.939)],
  [(10.722,-22.852),(10.51,-22.399),(10.693,-22.312),(10.91,-22.763)],
  [(11.096,-22.673),(10.876,-22.223),(11.058,-22.134),(11.281,-22.581)],
  [(21.415,-13.363),(20.99,-13.099),(21.097,-12.926),(21.523,-13.187)],
  [(21.631,-13.01),(21.202,-12.753),(21.306,-12.578),(21.737,-12.832)],
  [(21.841,-12.654),(21.409,-12.403),(21.51,-12.227),(21.944,-12.474)],
  [(22.046,-12.294),(21.609,-12.05),(21.707,-11.873),(22.146,-12.113)],
  [(20.248,-15.073),(19.847,-14.774),(19.967,-14.611),(20.371,-14.906)],
  [(22.245,-11.93),(21.804,-11.694),(21.899,-11.515),(22.342,-11.748)],
  [(22.437,-11.564),(21.993,-11.335),(22.085,-11.154),(22.532,-11.38)],
  [(13.27,-21.472),(13.007,-21.047),(13.18,-20.94),(13.446,-21.363)],
  [(22.624,-11.194),(22.176,-10.973),(22.265,-10.79),(22.715,-11.008)],
  [(22.805,-10.822),(22.353,-10.607),(22.439,-10.424),(22.893,-10.634)],
  [(13.621,-21.252),(13.351,-20.831),(13.521,-20.721),(13.794,-21.139)],
  [(22.979,-10.446),(22.524,-10.239),(22.607,-10.054),(23.064,-10.257)],
  [(23.147,-10.068),(22.689,-9.868),(22.769,-9.682),(23.229,-9.878)],
  [(13.967,-21.026),(13.691,-20.609),(13.859,-20.496),(14.139,-20.91)],
  [(23.309,-9.687),(22.848,-9.495),(22.925,-9.307),(23.388,-9.495)],
  [(23.465,-9.303),(23,-9.119),(23.074,-8.93),(23.541,-9.11)],
  [(14.31,-20.794),(14.027,-20.382),(14.194,-20.266),(14.481,-20.676)],
  [(23.615,-8.917),(23.147,-8.74),(23.218,-8.55),(23.687,-8.723)],
  [(23.758,-8.528),(23.287,-8.359),(23.355,-8.168),(23.827,-8.333)],
  [(14.65,-20.556),(14.359,-20.149),(14.524,-20.03),(14.818,-20.435)],
  [(23.894,-8.137),(23.421,-7.976),(23.486,-7.784),(23.96,-7.941)],
  [(24.025,-7.744),(23.549,-7.591),(23.61,-7.398),(24.087,-7.547)],
  [(14.985,-20.313),(14.688,-19.911),(14.851,-19.789),(15.151,-20.189)],
  [(24.149,-7.349),(23.67,-7.204),(23.729,-7.009),(24.208,-7.151)],
  [(24.266,-6.952),(23.785,-6.814),(23.84,-6.619),(24.322,-6.753)],
  [(15.316,-20.064),(15.013,-19.667),(15.173,-19.543),(15.48,-19.938)],
  [(24.377,-6.553),(23.894,-6.423),(23.946,-6.227),(24.43,-6.353)],
  [(24.481,-6.152),(23.996,-6.03),(24.045,-5.833),(24.53,-5.951)],
  [(15.643,-19.811),(15.333,-19.418),(15.492,-19.292),(15.805,-19.682)],
  [(24.578,-5.75),(24.092,-5.636),(24.137,-5.438),(24.625,-5.548)],
  [(24.67,-5.346),(24.181,-5.24),(24.223,-5.042),(24.713,-5.143)],
  [(15.966,-19.551),(15.65,-19.164),(15.806,-19.035),(16.126,-19.42)],
  [(20.492,-14.739),(20.086,-14.447),(20.204,-14.282),(20.612,-14.57)],
  [(24.754,-4.941),(24.264,-4.843),(24.302,-4.644),(24.794,-4.737)],
  [(16.285,-19.287),(15.962,-18.905),(16.117,-18.773),(16.442,-19.152)],
  [(24.832,-4.534),(24.34,-4.444),(24.375,-4.244),(24.868,-4.33)],
  [(16.599,-19.017),(16.27,-18.64),(16.422,-18.506),(16.754,-18.88)],
  [(24.903,-4.126),(24.409,-4.044),(24.442,-3.844),(24.936,-3.921)],
  [(16.908,-18.742),(16.574,-18.371),(16.724,-18.234),(17.062,-18.603)],
  [(24.967,-3.717),(24.472,-3.643),(24.501,-3.442),(24.997,-3.512)],
  [(17.214,-18.462),(16.873,-18.097),(17.021,-17.958),(17.365,-18.32)],
  [(25.025,-3.307),(24.529,-3.241),(24.555,-3.04),(25.051,-3.101)],
  [(17.514,-18.177),(17.167,-17.817),(17.313,-17.676),(17.663,-18.033)],
  [(25.075,-2.896),(24.579,-2.838),(24.601,-2.637),(25.098,-2.69)],
  [(17.81,-17.888),(17.457,-17.533),(17.6,-17.39),(17.956,-17.741)],
  [(25.12,-2.484),(24.622,-2.435),(24.641,-2.233),(25.139,-2.278)],
  [(18.101,-17.593),(17.743,-17.245),(17.883,-17.098),(18.245,-17.444)],
  [(25.157,-2.072),(24.659,-2.031),(24.674,-1.828),(25.173,-1.865)],
  [(18.387,-17.294),(18.023,-16.951),(18.161,-16.803),(18.528,-17.142)],
  [(25.188,-1.659),(24.689,-1.626),(24.701,-1.423),(25.2,-1.452)],
  [(18.668,-16.99),(18.299,-16.653),(18.435,-16.503),(18.807,-16.836)],
  [(20.731,-14.401),(20.321,-14.115),(20.436,-13.948),(20.849,-14.23)],
  [(25.211,-1.245),(24.712,-1.221),(24.721,-1.018),(25.221,-1.038)],
  [(18.945,-16.681),(18.569,-16.351),(18.703,-16.198),(19.081,-16.525)],
  [(25.228,-0.832),(24.729,-0.815),(24.735,-0.612),(25.234,-0.625)],
  [(19.216,-16.368),(18.835,-16.044),(18.966,-15.889),(19.349,-16.21)],
  [(25.239,-0.418),(24.739,-0.409),(24.741,-0.206),(25.241,-0.211)],
  [(20.965,-14.059),(20.549,-13.78),(20.662,-13.611),(21.079,-13.886)],
  [(19.482,-16.051),(19.096,-15.733),(19.224,-15.576),(19.613,-15.891)],
  [(19.742,-15.729),(19.351,-15.418),(19.477,-15.258),(19.871,-15.567)],
  [(21.192,-13.713),(20.773,-13.441),(20.882,-13.27),(21.304,-13.539)],
  [(19.998,-15.403),(19.602,-15.098),(19.725,-14.937),(20.123,-15.239)],
  [(12.559,-21.896),(12.31,-21.462),(12.486,-21.361),(12.738,-21.792)],
  [(12.198,-22.099),(11.956,-21.662),(12.133,-21.563),(12.379,-21.998)],
  [(11.466,-22.488),(11.239,-22.042),(11.42,-21.949),(11.65,-22.393)],
  [(11.834,-22.296),(11.599,-21.855),(11.778,-21.759),(12.016,-22.199)],
  [(3.608,-24.983),(3.537,-24.488),(3.738,-24.458),(3.813,-24.952)],
  [(9.967,-23.191),(9.77,-22.732),(9.956,-22.651),(10.157,-23.108)],
  [(6.046,-24.507),(5.926,-24.022),(6.123,-23.973),(6.247,-24.457)],
  [(1.136,-25.217),(1.113,-24.717),(1.316,-24.707),(1.342,-25.206)],
  [(0.722,-25.232),(0.708,-24.732),(0.91,-24.725),(0.929,-25.225)],
  [(5.239,-24.693),(5.135,-24.203),(5.333,-24.16),(5.441,-24.649)],
  [(0.308,-25.24),(0.302,-24.74),(0.505,-24.737),(0.515,-25.237)],
  [(7.64,-24.058),(7.488,-23.582),(7.682,-23.519),(7.837,-23.995)],
  [(9.201,-23.505),(9.019,-23.04),(9.207,-22.965),(9.393,-23.429)],
  [(6.847,-24.296),(6.711,-23.815),(6.906,-23.759),(7.046,-24.239)],
  [(7.244,-24.18),(7.101,-23.701),(7.295,-23.642),(7.442,-24.12)],
  [(8.425,-23.795),(8.258,-23.323),(8.449,-23.255),(8.62,-23.725)],
  [(4.833,-24.775),(4.737,-24.284),(4.936,-24.245),(5.036,-24.735)],
  [(2.787,-25.088),(2.732,-24.591),(2.933,-24.568),(2.992,-25.064)],
  [(3.198,-25.039),(3.135,-24.543),(3.336,-24.516),(3.403,-25.012)],
  [(4.018,-24.92),(3.938,-24.427),(4.138,-24.394),(4.222,-24.887)],
  [(4.426,-24.851),(4.338,-24.359),(4.538,-24.322),(4.63,-24.814)],
  [(9.585,-23.351),(9.395,-22.889),(9.583,-22.811),(9.776,-23.272)],
  [(1.549,-25.195),(1.519,-24.695),(1.721,-24.682),(1.756,-25.181)],
  [(6.447,-24.405),(6.319,-23.921),(6.515,-23.869),(6.647,-24.351)],
  [(1.962,-25.166),(1.923,-24.667),(2.126,-24.651),(2.169,-25.149)],
  [(5.643,-24.603),(5.531,-24.116),(5.729,-24.07),(5.845,-24.556)],
  [(2.375,-25.13),(2.328,-24.632),(2.53,-24.612),(2.581,-25.11)],
  [(8.814,-23.653),(8.64,-23.185),(8.829,-23.113),(9.008,-23.58)],
  [(8.033,-23.93),(7.874,-23.456),(8.066,-23.39),(8.229,-23.863)])
R(unnamed_312, PinRec, [(-26.01,-45,-25.51,-44.9), (25.51,-45,26.01,-44.9), (-26.01,44.9,-25.51,45), (25.51,44.9,26.01,45)])
R(unnamed_312, DevRec, [(-28.405,-47.5,28.405,47.5)])
R(unnamed_312, FloorPlan, [(-33.405,-52.5,33.405,52.5)])
unnamed_312.add(gdstk.Label('opt1', (25.76,45), layer=10, texttype=0))
unnamed_312.add(gdstk.Label('opt2', (25.76,-45), layer=10, texttype=0))
unnamed_312.add(gdstk.Label('opt3', (-25.76,45), layer=10, texttype=0))
unnamed_312.add(gdstk.Label('opt4', (-25.76,-45), layer=10, texttype=0))

lib.write_gds('Unnamed_312.gds')
